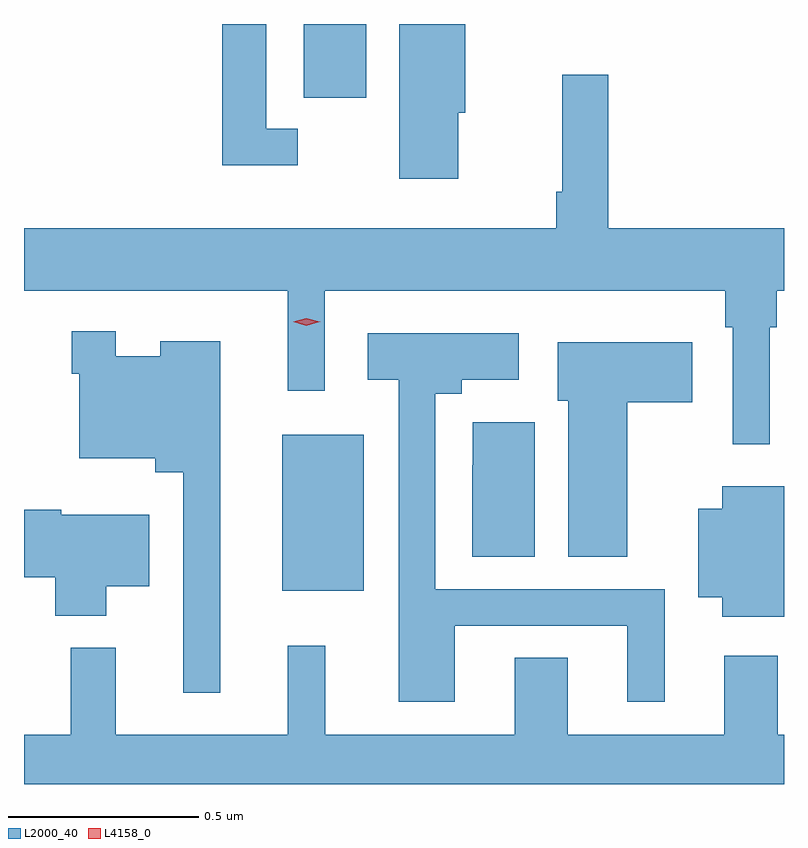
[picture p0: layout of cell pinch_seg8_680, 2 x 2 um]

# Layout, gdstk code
import gdstk
lib = gdstk.Library(unit=1e-6, precision=1e-09)
def R(c, l, rs):  # rectangles x0, y0, x1, y1
    for r in rs: c.add(gdstk.rectangle(r[:2], r[2:], *l))
def P(c, l, *ps):  # polygons
    for p in ps: c.add(gdstk.Polygon(p, *l))
L2000_40 = (2000, 40)
L4158_0 = (4158, 0)

pinch_seg8_680 = lib.new_cell('pinch_seg8_680')
R(pinch_seg8_680, L2000_40, [(326.447,1089.071,326.662,1089.481), (326.504,1090.368,326.668,1090.562)])
P(pinch_seg8_680, L2000_40, [(326.911,1090.329),(326.929,1090.329),(326.929,1090.562),(326.756,1090.562),(326.756,1090.155),(326.911,1090.155)],
  [(326.488,1090.287),(326.406,1090.287),(326.406,1090.562),(326.29,1090.562),(326.29,1090.19),(326.488,1090.19)],
  [(327.73,1089.764),(327.749,1089.764),(327.749,1089.86),(327.768,1089.86),(327.768,1090.024),(327.305,1090.024),(327.305,1090.429),(327.184,1090.429),(327.184,1090.12),(327.169,1090.12),(327.169,1090.024),(325.768,1090.024),(325.768,1089.86),(326.462,1089.86),(326.462,1089.597),(326.559,1089.597),(326.559,1089.86),(327.613,1089.86),(327.613,1089.764),(327.633,1089.764),(327.633,1089.456),(327.73,1089.456)],
  [(326.284,1089.727),(326.126,1089.727),(326.126,1089.688),(326.01,1089.688),(326.01,1089.754),(325.894,1089.754),(325.894,1089.641),(325.914,1089.641),(325.914,1089.419),(326.114,1089.419),(326.114,1089.383),(326.187,1089.383),(326.187,1088.802),(326.284,1088.802)],
  [(326.902,1088.979),(327.356,1088.979),(327.356,1088.778),(327.454,1088.778),(327.454,1089.075),(326.85,1089.075),(326.85,1089.589),(326.92,1089.589),(326.92,1089.626),(327.07,1089.626),(327.07,1089.748),(326.673,1089.748),(326.673,1089.626),(326.754,1089.626),(326.754,1088.778),(326.902,1088.778)],
  [(327.355,1089.566),(327.526,1089.566),(327.526,1089.724),(327.173,1089.724),(327.173,1089.57),(327.2,1089.57),(327.2,1089.16),(327.355,1089.16)],
  [(327.112,1089.514),(326.949,1089.514),(326.949,1089.401),(326.948,1089.401),(326.948,1089.16),(327.112,1089.16)],
  [(327.768,1089.346),(327.605,1089.346),(327.605,1089.286),(327.542,1089.286),(327.542,1089.053),(327.605,1089.053),(327.605,1089.002),(327.768,1089.002)],
  [(325.984,1089.083),(326.098,1089.083),(326.098,1089.271),(325.866,1089.271),(325.866,1089.284),(325.768,1089.284),(325.768,1089.106),(325.85,1089.106),(325.85,1089.005),(325.984,1089.005)],
  [(327.768,1088.692),(327.751,1088.692),(327.751,1088.899),(327.611,1088.899),(327.611,1088.692),(327.199,1088.692),(327.199,1088.894),(327.059,1088.894),(327.059,1088.692),(326.561,1088.692),(326.561,1088.926),(326.462,1088.926),(326.462,1088.692),(326.009,1088.692),(326.009,1088.92),(325.891,1088.92),(325.891,1088.692),(325.768,1088.692),(325.768,1088.562),(327.768,1088.562)])
P(pinch_seg8_680, L4158_0, [(326.511,1089.768),(326.476,1089.778),(326.476,1089.778),(326.476,1089.778),(326.511,1089.788),(326.546,1089.778),(326.547,1089.778),(326.546,1089.778)])

lib.write_gds('pinch_seg8_680.gds')
